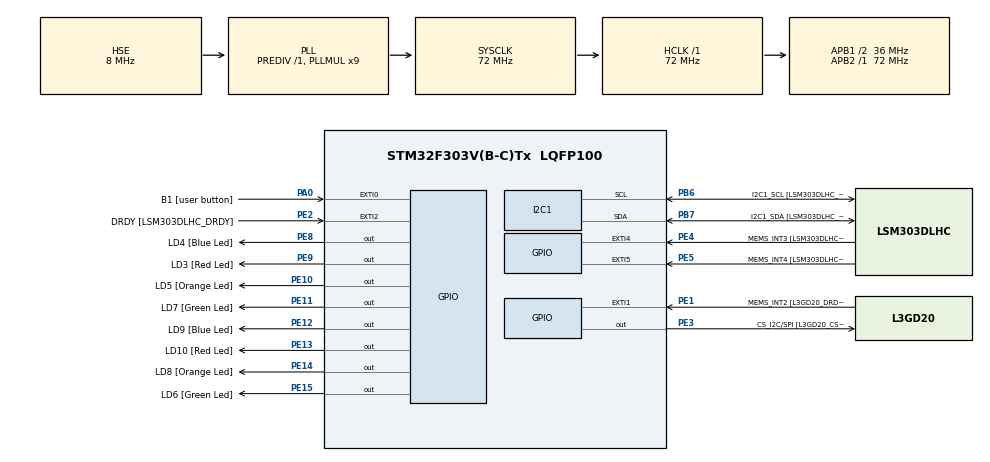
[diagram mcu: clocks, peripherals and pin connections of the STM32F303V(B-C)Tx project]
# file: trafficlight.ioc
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Mcu.Family=STM32F3
Mcu.Name=STM32F303V(B-C)Tx
Mcu.Package=LQFP100
NVIC.EXTI0_IRQn=true\:1\:0\:true\:false\:true
NVIC.PriorityGroup=NVIC_PRIORITYGROUP_4
PA0.GPIO_Label=B1 [user button]
PA0.GPIO_ModeDefaultEXTI=GPIO_MODE_IT_RISING
PA0.Signal=GPXTI0
PA11.GPIO_Label=DM
PA11.Signal=USB_DM
PA12.GPIO_Label=DP
PA12.Signal=USB_DP
PA13.GPIO_Label=SWDIO
PA13.Signal=SYS_JTMS-SWDIO
PA14.GPIO_Label=SWCLK
PA14.Signal=SYS_JTCK-SWCLK
PA5.GPIO_Label=SPI1_SCK [L3GD20_SCL/SPC]
PA5.GPIO_Mode=GPIO_MODE_AF_PP
PA5.GPIO_PuPd=GPIO_NOPULL
PA5.GPIO_Speed=GPIO_SPEED_FREQ_LOW
PA5.Signal=SPI1_SCK
PA6.GPIO_Label=SPI1_MISO [L3GD20_SA0/SDO]
PA6.GPIO_Mode=GPIO_MODE_AF_PP
PA6.GPIO_PuPd=GPIO_NOPULL
PA6.GPIO_Speed=GPIO_SPEED_FREQ_LOW
PA6.Signal=SPI1_MISO
PA7.GPIO_Label=SPI1_MISO [L3GD20_SDA/SDI/SDO]
PA7.GPIO_Mode=GPIO_MODE_AF_PP
PA7.GPIO_PuPd=GPIO_NOPULL
PA7.GPIO_Speed=GPIO_SPEED_FREQ_LOW
PA7.Signal=SPI1_MOSI
PB3.GPIO_Label=SWO
PB3.Signal=SYS_JTDO-TRACESWO
PB6.GPIO_FM6=__NULL
PB6.GPIO_Label=I2C1_SCL [LSM303DLHC_SCL]
PB6.GPIO_Mode=GPIO_MODE_AF_OD
PB6.GPIO_PuPd=GPIO_NOPULL
PB6.GPIO_Speed=GPIO_SPEED_FREQ_LOW
PB6.Mode=I2C
PB6.Signal=I2C1_SCL
PB7.GPIO_FM7=__NULL
PB7.GPIO_Label=I2C1_SDA [LSM303DLHC_SDA]
PB7.GPIO_Mode=GPIO_MODE_AF_OD
PB7.GPIO_PuPd=GPIO_NOPULL
PB7.GPIO_Speed=GPIO_SPEED_FREQ_LOW
PB7.Mode=I2C
PB7.Signal=I2C1_SDA
PC14-OSC32_IN.GPIO_Label=OSC32_IN
PC14-OSC32_IN.Signal=RCC_OSC32_IN
PC15-OSC32_OUT.GPIO_Label=OSC32_OUT
PC15-OSC32_OUT.Signal=RCC_OSC32_OUT
PE1.GPIO_Label=MEMS_INT2 [L3GD20_DRDY/INT2]
PE1.GPIO_ModeDefaultEXTI=GPIO_MODE_EVT_RISING
PE1.GPIO_PuPd=GPIO_NOPULL
PE1.Signal=GPXTI1
PE10.GPIO_Label=LD5 [Orange Led]
PE10.GPIO_ModeDefaultOutputPP=GPIO_MODE_OUTPUT_PP
PE10.GPIO_PuPd=GPIO_NOPULL
PE10.GPIO_Speed=GPIO_SPEED_FREQ_LOW
PE10.Signal=GPIO_Output
PE11.GPIO_Label=LD7 [Green Led]
PE11.GPIO_ModeDefaultOutputPP=GPIO_MODE_OUTPUT_PP
PE11.GPIO_PuPd=GPIO_NOPULL
PE11.GPIO_Speed=GPIO_SPEED_FREQ_LOW
PE11.Signal=GPIO_Output
PE12.GPIO_Label=LD9 [Blue Led]
PE12.GPIO_ModeDefaultOutputPP=GPIO_MODE_OUTPUT_PP
PE12.GPIO_PuPd=GPIO_NOPULL
PE12.GPIO_Speed=GPIO_SPEED_FREQ_LOW
PE12.Signal=GPIO_Output
PE13.GPIO_Label=LD10 [Red Led]
PE13.GPIO_ModeDefaultOutputPP=GPIO_MODE_OUTPUT_PP
PE13.GPIO_PuPd=GPIO_NOPULL
PE13.GPIO_Speed=GPIO_SPEED_FREQ_LOW
PE13.Signal=GPIO_Output
PE14.GPIO_Label=LD8 [Orange Led]
PE14.GPIO_ModeDefaultOutputPP=GPIO_MODE_OUTPUT_PP
PE14.GPIO_PuPd=GPIO_NOPULL
PE14.GPIO_Speed=GPIO_SPEED_FREQ_LOW
PE14.Signal=GPIO_Output
PE15.GPIO_Label=LD6 [Green Led]
PE15.GPIO_ModeDefaultOutputPP=GPIO_MODE_OUTPUT_PP
PE15.GPIO_PuPd=GPIO_NOPULL
PE15.GPIO_Speed=GPIO_SPEED_FREQ_LOW
PE15.Signal=GPIO_Output
PE2.GPIO_Label=DRDY [LSM303DLHC_DRDY]
PE2.GPIO_ModeDefaultEXTI=GPIO_MODE_EVT_RISING
PE2.GPIO_PuPd=GPIO_NOPULL
PE2.Signal=GPXTI2
PE3.GPIO_Label=CS_I2C/SPI [L3GD20_CS_I2C/SPI]
PE3.GPIO_ModeDefaultOutputPP=GPIO_MODE_OUTPUT_PP
PE3.GPIO_PuPd=GPIO_NOPULL
PE3.GPIO_Speed=GPIO_SPEED_FREQ_LOW
PE3.Signal=GPIO_Output
PE4.GPIO_Label=MEMS_INT3 [LSM303DLHC_INT1]
PE4.GPIO_ModeDefaultEXTI=GPIO_MODE_EVT_RISING
PE4.GPIO_PuPd=GPIO_NOPULL
PE4.Signal=GPXTI4
PE5.GPIO_Label=MEMS_INT4 [LSM303DLHC_INT2]
PE5.GPIO_ModeDefaultEXTI=GPIO_MODE_EVT_RISING
PE5.GPIO_PuPd=GPIO_NOPULL
PE5.Signal=GPXTI5
PE8.GPIO_Label=LD4 [Blue Led]
PE8.GPIO_ModeDefaultOutputPP=GPIO_MODE_OUTPUT_PP
PE8.GPIO_PuPd=GPIO_NOPULL
PE8.GPIO_Speed=GPIO_SPEED_FREQ_LOW
PE8.Signal=GPIO_Output
PE9.GPIO_Label=LD3 [Red Led]
PE9.GPIO_ModeDefaultOutputPP=GPIO_MODE_OUTPUT_PP
PE9.GPIO_PuPd=GPIO_NOPULL
PE9.GPIO_Speed=GPIO_SPEED_FREQ_LOW
PE9.Signal=GPIO_Output
PF0-OSC_IN.GPIO_Label=OSC_IN
PF0-OSC_IN.Mode=HSE-External-Clock-Source
PF0-OSC_IN.Signal=RCC_OSC_IN
PF1-OSC_OUT.GPIO_Label=OSC_OUT
PF1-OSC_OUT.Signal=RCC_OSC_OUT
ProjectManager.HeapSize=0x200
ProjectManager.StackSize=0x400
ProjectManager.TargetToolchain=SW4STM32
RCC.AHBFreq_Value=72000000
RCC.APB1CLKDivider=RCC_HCLK_DIV2
RCC.APB1Freq_Value=36000000
RCC.APB1TimFreq_Value=72000000
RCC.APB2Freq_Value=72000000
RCC.APB2TimFreq_Value=72000000
RCC.CortexFreq_Value=72000000
RCC.HCLKFreq_Value=72000000
RCC.HSE_VALUE=8000000
RCC.HSI_VALUE=8000000
RCC.LSE_VALUE=32768
RCC.PLLMUL=RCC_PLL_MUL9
RCC.PLLSourceVirtual=RCC_PLLSOURCE_HSE
RCC.SYSCLKFreq_VALUE=72000000
RCC.SYSCLKSourceVirtual=RCC_SYSCLKSOURCE_PLLCLK
RCC.USBFreq_Value=72000000
board=STM32F3DISCOVERY

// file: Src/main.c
/**
  ******************************************************************************
  * File Name          : main.c
  * Description        : Main program body
  ******************************************************************************
  *
  * COPYRIGHT(c) 2017 STMicroelectronics
  *
  * Redistribution and use in source and binary forms, with or without modification,
  * are permitted provided that the following conditions are met:
  *   1. Redistributions of source code must retain the above copyright notice,
  *      this list of conditions and the following disclaimer.
  *   2. Redistributions in binary form must reproduce the above copyright notice,
  *      this list of conditions and the following disclaimer in the documentation
  *      and/or other materials provided with the distribution.
  *   3. Neither the name of STMicroelectronics nor the names of its contributors
  *      may be used to endorse or promote products derived from this software
  *      without specific prior written permission.
  *
  * THIS SOFTWARE IS PROVIDED BY THE COPYRIGHT HOLDERS AND CONTRIBUTORS "AS IS"
  * AND ANY EXPRESS OR IMPLIED WARRANTIES, INCLUDING, BUT NOT LIMITED TO, THE
  * IMPLIED WARRANTIES OF MERCHANTABILITY AND FITNESS FOR A PARTICULAR PURPOSE ARE
  * DISCLAIMED. IN NO EVENT SHALL THE COPYRIGHT HOLDER OR CONTRIBUTORS BE LIABLE
  * FOR ANY DIRECT, INDIRECT, INCIDENTAL, SPECIAL, EXEMPLARY, OR CONSEQUENTIAL
  * DAMAGES (INCLUDING, BUT NOT LIMITED TO, PROCUREMENT OF SUBSTITUTE GOODS OR
  * SERVICES; LOSS OF USE, DATA, OR PROFITS; OR BUSINESS INTERRUPTION) HOWEVER
  * CAUSED AND ON ANY THEORY OF LIABILITY, WHETHER IN CONTRACT, STRICT LIABILITY,
  * OR TORT (INCLUDING NEGLIGENCE OR OTHERWISE) ARISING IN ANY WAY OUT OF THE USE
  * OF THIS SOFTWARE, EVEN IF ADVISED OF THE POSSIBILITY OF SUCH DAMAGE.
  *
  ******************************************************************************
  */
#include "main.h"
#include "stm32f3xx_hal.h"

I2C_HandleTypeDef hi2c1;

/* USER CODE BEGIN PV */
/* Private variables ---------------------------------------------------------*/

/* USER CODE END PV */

void SystemClock_Config(void);
void Error_Handler(void);
static void MX_GPIO_Init(void);
static void MX_I2C1_Init(void);

/* USER CODE BEGIN PFP */
/* Private function prototypes -----------------------------------------------*/

/* USER CODE END PFP */

/* USER CODE BEGIN 0 */
enum STATE {
	RED,
	GREEN,
	YELLOW
};

enum STATE state = RED;
/* USER CODE END 0 */

int main(void)
{

  /* USER CODE BEGIN 1 */
	uint8_t tout;
  /* USER CODE END 1 */

  /* MCU Configuration----------------------------------------------------------*/

  /* Reset of all peripherals, Initializes the Flash interface and the Systick. */
  HAL_Init();

  /* Configure the system clock */
  SystemClock_Config();

  /* Initialize all configured peripherals */
  MX_GPIO_Init();
  MX_I2C1_Init();

  /* Infinite loop */
  while (1)
  {

  /* USER CODE BEGIN 3 */

	  switch (state) {
	  case RED:
		  HAL_NVIC_EnableIRQ(EXTI0_IRQn);
		  HAL_GPIO_WritePin(LD3_GPIO_Port, LD3_Pin, 1);
		  HAL_GPIO_WritePin(LD5_GPIO_Port, LD5_Pin, 0);
		  HAL_GPIO_WritePin(LD7_GPIO_Port, LD7_Pin, 0);
		  break;
	  case YELLOW:
		  HAL_NVIC_DisableIRQ(EXTI0_IRQn);
		  HAL_GPIO_WritePin(LD3_GPIO_Port, LD3_Pin, 0);
		  HAL_GPIO_WritePin(LD7_GPIO_Port, LD7_Pin, 0);
		  // flash
		  for (tout=0; tout<6; ++tout) {
			  HAL_GPIO_TogglePin(LD5_GPIO_Port, LD5_Pin);
			  HAL_Delay(tout%2?500:500);
		  }
		  state = RED;
		  __HAL_GPIO_EXTI_CLEAR_IT(GPIO_PIN_0);
		  break;
	  case GREEN:
		  HAL_NVIC_EnableIRQ(EXTI0_IRQn);
		  HAL_GPIO_WritePin(LD3_GPIO_Port, LD3_Pin, 0);
		  HAL_GPIO_WritePin(LD5_GPIO_Port, LD5_Pin, 0);
		  HAL_GPIO_WritePin(LD7_GPIO_Port, LD7_Pin, 1);
		  break;
	  }
  }
  /* USER CODE END 3 */

}

/** System Clock Configuration
*/
void SystemClock_Config(void)
{

  RCC_OscInitTypeDef RCC_OscInitStruct;
  RCC_ClkInitTypeDef RCC_ClkInitStruct;
  RCC_PeriphCLKInitTypeDef PeriphClkInit;

    /**Initializes the CPU, AHB and APB busses clocks
    */
  RCC_OscInitStruct.OscillatorType = RCC_OSCILLATORTYPE_HSI|RCC_OSCILLATORTYPE_HSE;
  RCC_OscInitStruct.HSEState = RCC_HSE_BYPASS;
  RCC_OscInitStruct.HSEPredivValue = RCC_HSE_PREDIV_DIV1;
  RCC_OscInitStruct.HSIState = RCC_HSI_ON;
  RCC_OscInitStruct.HSICalibrationValue = 16;
  RCC_OscInitStruct.PLL.PLLState = RCC_PLL_ON;
  RCC_OscInitStruct.PLL.PLLSource = RCC_PLLSOURCE_HSE;
  RCC_OscInitStruct.PLL.PLLMUL = RCC_PLL_MUL9;
  if (HAL_RCC_OscConfig(&RCC_OscInitStruct) != HAL_OK)
  {
    Error_Handler();
  }

    /**Initializes the CPU, AHB and APB busses clocks
    */
  RCC_ClkInitStruct.ClockType = RCC_CLOCKTYPE_HCLK|RCC_CLOCKTYPE_SYSCLK
                              |RCC_CLOCKTYPE_PCLK1|RCC_CLOCKTYPE_PCLK2;
  RCC_ClkInitStruct.SYSCLKSource = RCC_SYSCLKSOURCE_PLLCLK;
  RCC_ClkInitStruct.AHBCLKDivider = RCC_SYSCLK_DIV1;
  RCC_ClkInitStruct.APB1CLKDivider = RCC_HCLK_DIV2;
  RCC_ClkInitStruct.APB2CLKDivider = RCC_HCLK_DIV1;

  if (HAL_RCC_ClockConfig(&RCC_ClkInitStruct, FLASH_LATENCY_2) != HAL_OK)
  {
    Error_Handler();
  }

  PeriphClkInit.PeriphClockSelection = RCC_PERIPHCLK_I2C1;
  PeriphClkInit.I2c1ClockSelection = RCC_I2C1CLKSOURCE_HSI;
  if (HAL_RCCEx_PeriphCLKConfig(&PeriphClkInit) != HAL_OK)
  {
    Error_Handler();
  }

    /**Configure the Systick interrupt time
    */
  HAL_SYSTICK_Config(HAL_RCC_GetHCLKFreq()/1000);

    /**Configure the Systick
    */
  HAL_SYSTICK_CLKSourceConfig(SYSTICK_CLKSOURCE_HCLK);

  /* SysTick_IRQn interrupt configuration */
  HAL_NVIC_SetPriority(SysTick_IRQn, 0, 0);
}

/* I2C1 init function */
static void MX_I2C1_Init(void)
{

  hi2c1.Instance = I2C1;
  hi2c1.Init.Timing = 0x2000090E;
  hi2c1.Init.OwnAddress1 = 0;
  hi2c1.Init.AddressingMode = I2C_ADDRESSINGMODE_7BIT;
  hi2c1.Init.DualAddressMode = I2C_DUALADDRESS_DISABLE;
  hi2c1.Init.OwnAddress2 = 0;
  hi2c1.Init.OwnAddress2Masks = I2C_OA2_NOMASK;
  hi2c1.Init.GeneralCallMode = I2C_GENERALCALL_DISABLE;
  hi2c1.Init.NoStretchMode = I2C_NOSTRETCH_DISABLE;
  if (HAL_I2C_Init(&hi2c1) != HAL_OK)
  {
    Error_Handler();
  }

    /**Configure Analogue filter
    */
  if (HAL_I2CEx_ConfigAnalogFilter(&hi2c1, I2C_ANALOGFILTER_ENABLE) != HAL_OK)
  {
    Error_Handler();
  }

}

/** Configure pins as
        * Analog
        * Input
        * Output
        * EVENT_OUT
        * EXTI
     PA5   ------> SPI1_SCK
     PA6   ------> SPI1_MISO
     PA7   ------> SPI1_MOSI
     PA11   ------> USB_DM
     PA12   ------> USB_DP
*/
static void MX_GPIO_Init(void)
{

  GPIO_InitTypeDef GPIO_InitStruct;

  /* GPIO Ports Clock Enable */
  __HAL_RCC_GPIOE_CLK_ENABLE();
  __HAL_RCC_GPIOC_CLK_ENABLE();
  __HAL_RCC_GPIOF_CLK_ENABLE();
  __HAL_RCC_GPIOA_CLK_ENABLE();
  __HAL_RCC_GPIOB_CLK_ENABLE();

  /*Configure GPIO pin Output Level */
  HAL_GPIO_WritePin(GPIOE, CS_I2C_SPI_Pin|LD4_Pin|LD3_Pin|LD5_Pin
                          |LD7_Pin|LD9_Pin|LD10_Pin|LD8_Pin
                          |LD6_Pin, GPIO_PIN_RESET);

  /*Configure GPIO pins : DRDY_Pin MEMS_INT3_Pin MEMS_INT4_Pin MEMS_INT2_Pin */
  GPIO_InitStruct.Pin = DRDY_Pin|MEMS_INT3_Pin|MEMS_INT4_Pin|MEMS_INT2_Pin;
  GPIO_InitStruct.Mode = GPIO_MODE_EVT_RISING;
  GPIO_InitStruct.Pull = GPIO_NOPULL;
  HAL_GPIO_Init(GPIOE, &GPIO_InitStruct);

  /*Configure GPIO pins : CS_I2C_SPI_Pin LD4_Pin LD3_Pin LD5_Pin
                           LD7_Pin LD9_Pin LD10_Pin LD8_Pin
                           LD6_Pin */
  GPIO_InitStruct.Pin = CS_I2C_SPI_Pin|LD4_Pin|LD3_Pin|LD5_Pin
                          |LD7_Pin|LD9_Pin|LD10_Pin|LD8_Pin
                          |LD6_Pin;
  GPIO_InitStruct.Mode = GPIO_MODE_OUTPUT_PP;
  GPIO_InitStruct.Pull = GPIO_NOPULL;
  GPIO_InitStruct.Speed = GPIO_SPEED_FREQ_LOW;
  HAL_GPIO_Init(GPIOE, &GPIO_InitStruct);

  /*Configure GPIO pin : B1_Pin */
  GPIO_InitStruct.Pin = B1_Pin;
  GPIO_InitStruct.Mode = GPIO_MODE_IT_RISING;
  GPIO_InitStruct.Pull = GPIO_NOPULL;
  HAL_GPIO_Init(B1_GPIO_Port, &GPIO_InitStruct);

  /*Configure GPIO pins : SPI1_SCK_Pin SPI1_MISO_Pin SPI1_MISOA7_Pin */
  GPIO_InitStruct.Pin = SPI1_SCK_Pin|SPI1_MISO_Pin|SPI1_MISOA7_Pin;
  GPIO_InitStruct.Mode = GPIO_MODE_AF_PP;
  GPIO_InitStruct.Pull = GPIO_NOPULL;
  GPIO_InitStruct.Speed = GPIO_SPEED_FREQ_LOW;
  GPIO_InitStruct.Alternate = GPIO_AF5_SPI1;
  HAL_GPIO_Init(GPIOA, &GPIO_InitStruct);

  /*Configure GPIO pins : DM_Pin DP_Pin */
  GPIO_InitStruct.Pin = DM_Pin|DP_Pin;
  GPIO_InitStruct.Mode = GPIO_MODE_AF_PP;
  GPIO_InitStruct.Pull = GPIO_NOPULL;
  GPIO_InitStruct.Speed = GPIO_SPEED_FREQ_HIGH;
  GPIO_InitStruct.Alternate = GPIO_AF14_USB;
  HAL_GPIO_Init(GPIOA, &GPIO_InitStruct);

  /* EXTI interrupt init*/
  HAL_NVIC_SetPriority(EXTI0_IRQn, 1, 0);
  HAL_NVIC_EnableIRQ(EXTI0_IRQn);

}

/* USER CODE BEGIN 4 */
void HAL_GPIO_EXTI_Callback(uint16_t GPIO_Pin) {
	state = (state==RED)?GREEN:YELLOW;
}
/* USER CODE END 4 */

void Error_Handler(void)
{
  while(1)
  {
  }
}

/************************ (C) COPYRIGHT STMicroelectronics *****END OF FILE****/
